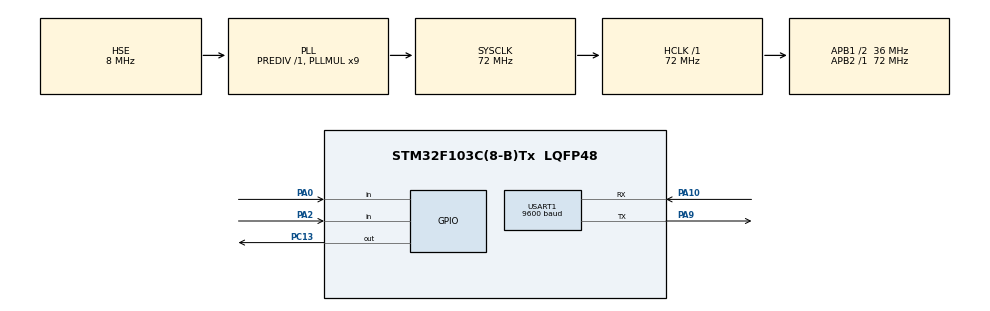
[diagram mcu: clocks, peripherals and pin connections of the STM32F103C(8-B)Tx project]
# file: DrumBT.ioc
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Mcu.Family=STM32F1
Mcu.Name=STM32F103C(8-B)Tx
Mcu.Package=LQFP48
NVIC.PriorityGroup=NVIC_PRIORITYGROUP_4
NVIC.USART1_IRQn=true\:0\:0\:false\:false\:true\:true\:true
PA0-WKUP.GPIO_PuPd=GPIO_PULLUP
PA0-WKUP.Signal=GPIO_Input
PA10.Mode=Asynchronous
PA10.Signal=USART1_RX
PA13.Mode=JTAG_5_pins
PA13.Signal=SYS_JTMS-SWDIO
PA14.Mode=JTAG_5_pins
PA14.Signal=SYS_JTCK-SWCLK
PA15.Mode=JTAG_5_pins
PA15.Signal=SYS_JTDI
PA2.GPIO_PuPd=GPIO_PULLUP
PA2.Signal=GPIO_Input
PA9.Mode=Asynchronous
PA9.Signal=USART1_TX
PB3.Mode=JTAG_5_pins
PB3.Signal=SYS_JTDO-TRACESWO
PB4.Mode=JTAG_5_pins
PB4.Signal=SYS_NJTRST
PC13-TAMPER-RTC.Signal=GPIO_Output
PD0-OSC_IN.Mode=HSE-External-Oscillator
PD0-OSC_IN.Signal=RCC_OSC_IN
PD1-OSC_OUT.Mode=HSE-External-Oscillator
PD1-OSC_OUT.Signal=RCC_OSC_OUT
ProjectManager.HeapSize=0x200
ProjectManager.StackSize=0x400
ProjectManager.TargetToolchain=STM32CubeIDE
RCC.AHBFreq_Value=72000000
RCC.APB1CLKDivider=RCC_HCLK_DIV2
RCC.APB1Freq_Value=36000000
RCC.APB1TimFreq_Value=72000000
RCC.APB2Freq_Value=72000000
RCC.APB2TimFreq_Value=72000000
RCC.HCLKFreq_Value=72000000
RCC.PLLMUL=RCC_PLL_MUL9
RCC.PLLSourceVirtual=RCC_PLLSOURCE_HSE
RCC.SYSCLKFreq_VALUE=72000000
RCC.SYSCLKSource=RCC_SYSCLKSOURCE_PLLCLK
RCC.USBFreq_Value=72000000
USART1.BaudRate=9600
USART1.Mode=MODE_TX_RX
USART1.Parity=PARITY_NONE
USART1.VirtualMode=VM_ASYNC
board=custom

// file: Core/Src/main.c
/* USER CODE BEGIN Header */
/**
  ******************************************************************************
  * @file           : main.c
  * @brief          : Main program body
  ******************************************************************************
  * @attention
  *
  * <h2><center>&copy; Copyright (c) 2021 STMicroelectronics.
  * All rights reserved.</center></h2>
  *
  * This software component is licensed by ST under BSD 3-Clause license,
  * the "License"; You may not use this file except in compliance with the
  * License. You may obtain a copy of the License at:
  *                        opensource.org/licenses/BSD-3-Clause
  *
  ******************************************************************************
  */
/* USER CODE END Header */
#include "main.h"
#include "usart.h"
#include "gpio.h"

/* USER CODE BEGIN Includes */
#include <stdio.h>
#include <math.h>
#include <string.h>
/* USER CODE END Includes */

/* USER CODE BEGIN PD */
#define BUFFER_LEN  1
UART_HandleTypeDef huart1;
uint8_t RX_BUFFER[BUFFER_LEN] = {0};
/* USER CODE END PD */

void SystemClock_Config(void);

int main(void)
{

  /* MCU Configuration--------------------------------------------------------*/

  /* Reset of all peripherals, Initializes the Flash interface and the Systick. */
  HAL_Init();

  /* Configure the system clock */
  SystemClock_Config();

  /* Initialize all configured peripherals */
  MX_GPIO_Init();
  MX_USART1_UART_Init();

  /* Infinite loop */
  /* USER CODE BEGIN WHILE */
  uint32_t lastBeats[8] = {0U, 0U, 0U, 0U, 0U, 0U, 0U, 0U};
  int delay_presets[4] = {100, 180, 250, 350};
  int preset_counter = 0;
  int arrayCounter = 0;
  int BPM = 0;
  char buf[4];
  char note_buf[4];
  char greet[32] = "By Spustya Pukava Inc.\n";
  HAL_UART_Transmit(&huart1, (uint8_t*)greet, sizeof(greet), 1000);

  while (1)
  {
	  if(GPIO_PIN_RESET == HAL_GPIO_ReadPin(GPIOA, GPIO_PIN_0))
	  	  {
	  		  preset_counter ++;
	  		  if (preset_counter == 4)	preset_counter = 0;
	  		  sprintf(note_buf, "%d", delay_presets[preset_counter]);
	  		  char note[32] = "Delay changed to ";
	  		  strcat(note, note_buf);
	  		  strcat(note, "\n");
	  		  HAL_UART_Transmit(&huart1, (uint8_t*)note, sizeof(note), 1000);
	  		  HAL_Delay(1000);
	  	  }
	  if(GPIO_PIN_RESET == HAL_GPIO_ReadPin(GPIOA, GPIO_PIN_2))
	  {
			  HAL_GPIO_TogglePin(GPIOC, GPIO_PIN_13);
			  lastBeats[arrayCounter] = HAL_GetTick();

			  arrayCounter ++;
			  if (arrayCounter == 8) arrayCounter = 0;

			  float averageTime;
			  uint32_t difference[7] = {0, 0, 0, 0, 0, 0, 0};
			  long sum = 0;
			  for (int i = 0; i < 7; i++)
			  {
				  difference[i] = (lastBeats[i+1] - lastBeats[i]);
				  sum += difference[i];
			  }
			  averageTime = sum / (7);
			  BPM = 60000/averageTime;
			  if (BPM < 0)
			  {
				  BPM = BPM * (-1);
			  }
			  sprintf(buf, "%d", BPM);
			  HAL_Delay(delay_presets[preset_counter]);
	  }
	  if ((HAL_GetTick() % 1001) >= 1000)
	  {
		  HAL_UART_Transmit(&huart1, (uint8_t*)buf, 3, 1000);
		  HAL_UART_Transmit(&huart1, (uint8_t*)"\n", 2, 1000);
	  }
  }
    /* USER CODE END WHILE */

}

void SystemClock_Config(void)
{
  RCC_OscInitTypeDef RCC_OscInitStruct = {0};
  RCC_ClkInitTypeDef RCC_ClkInitStruct = {0};

  /** Initializes the RCC Oscillators according to the specified parameters
  * in the RCC_OscInitTypeDef structure.
  */
  RCC_OscInitStruct.OscillatorType = RCC_OSCILLATORTYPE_HSE;
  RCC_OscInitStruct.HSEState = RCC_HSE_ON;
  RCC_OscInitStruct.HSEPredivValue = RCC_HSE_PREDIV_DIV1;
  RCC_OscInitStruct.HSIState = RCC_HSI_ON;
  RCC_OscInitStruct.PLL.PLLState = RCC_PLL_ON;
  RCC_OscInitStruct.PLL.PLLSource = RCC_PLLSOURCE_HSE;
  RCC_OscInitStruct.PLL.PLLMUL = RCC_PLL_MUL9;
  if (HAL_RCC_OscConfig(&RCC_OscInitStruct) != HAL_OK)
  {
    Error_Handler();
  }
  /** Initializes the CPU, AHB and APB buses clocks
  */
  RCC_ClkInitStruct.ClockType = RCC_CLOCKTYPE_HCLK|RCC_CLOCKTYPE_SYSCLK
                              |RCC_CLOCKTYPE_PCLK1|RCC_CLOCKTYPE_PCLK2;
  RCC_ClkInitStruct.SYSCLKSource = RCC_SYSCLKSOURCE_PLLCLK;
  RCC_ClkInitStruct.AHBCLKDivider = RCC_SYSCLK_DIV1;
  RCC_ClkInitStruct.APB1CLKDivider = RCC_HCLK_DIV2;
  RCC_ClkInitStruct.APB2CLKDivider = RCC_HCLK_DIV1;

  if (HAL_RCC_ClockConfig(&RCC_ClkInitStruct, FLASH_LATENCY_2) != HAL_OK)
  {
    Error_Handler();
  }
}

/* USER CODE BEGIN 4 */
void HAL_UART_RxCpltCallback(UART_HandleTypeDef *huart)
{
    if(huart->Instance == huart1.Instance)
    {
	HAL_UART_Receive_IT(&huart1, RX_BUFFER, BUFFER_LEN);
    }
}

/* USER CODE END 4 */

void Error_Handler(void)
{
  __disable_irq();
  while (1)
  {
  }
}

/************************ (C) COPYRIGHT STMicroelectronics *****END OF FILE****/
